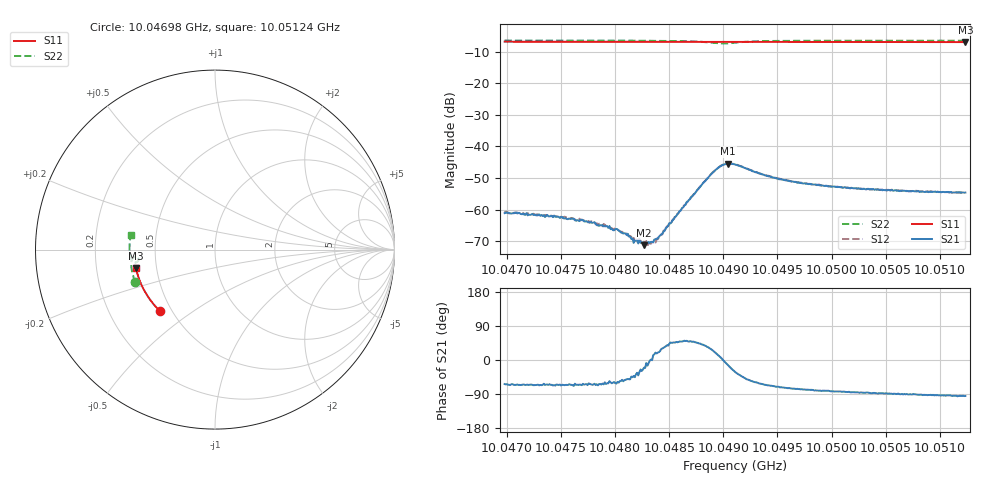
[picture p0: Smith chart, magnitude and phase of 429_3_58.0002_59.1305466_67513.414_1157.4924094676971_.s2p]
#  HZ  S  RI  R  50.00
! Rohde & Schwarz Vector Network Analyzer
! Rohde-Schwarz,ZNB20-2Port,1311601062101988,3.16
! Created: UTC 3/21/2024, 1:09:29 AM
! freq[Hz]  re:S11  im:S11  re:S21  im:S21  re:S12  im:S12  re:S22  im:S22
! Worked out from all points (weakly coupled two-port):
!   401 points, 10.04698 GHz to 10.05124 GHz, reference 50 ohm
!   highest |S21| = -45.41 dB at 10.04904 GHz (marker M1); lowest = -71.4 dB at 10.04827 GHz (marker M2)
!   lowest |S11| = -6.9 dB at 10.05124 GHz (marker M3), VSWR 2.65, Z = 19.1 - j4.95 ohm
!   |S11| at or under -10 dB: nowhere
!   |S22| runs from -7.4 to -6.4 dB; largest |S21 - S12| = 0.00036
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1.0046979e10  -0.3054 -0.3434  0.000392 -0.000785  0.000483 -0.000806  -0.4443 -0.1814
1.0047458e10  -0.3275 -0.3209  0.000329 -0.000696  0.00034 -0.000691  -0.4546 -0.1504
1.0047692e10  -0.3378 -0.3094  0.000274 -0.000627  0.000305 -0.000621  -0.459 -0.1349
1.0047884e10  -0.3459 -0.2995  0.000263 -0.000498  0.000257 -0.000478  -0.462 -0.1216
1.0047979e10  -0.3499 -0.2946  0.000236 -0.000409  0.000279 -0.0004  -0.4634 -0.1147
1.0048022e10  -0.3516 -0.2925  0.000259 -0.000409  0.000275 -0.00039  -0.464 -0.1115
1.0048118e10  -0.3555 -0.2876  0.000263 -0.000316  0.000255 -0.000289  -0.465 -0.1046
1.0048192e10  -0.3584 -0.2835  0.000263 -0.000207  0.00029 -0.000186  -0.4658 -0.0988
1.0048267e10  -0.3613 -0.2796  0.000254 -9.36e-05  0.000293 -9.82e-05  -0.4662 -0.0932
1.004832e10  -0.3634 -0.2768  0.0003 -9.66e-06  0.000289 1.43e-05  -0.4667 -0.0888
1.0048352e10  -0.3646 -0.2749  0.000293 6.62e-05  0.000289 8.03e-05  -0.4669 -0.0864
1.0048405e10  -0.3667 -0.2723  0.000347 0.000132  0.000316 0.000178  -0.4669 -0.0818
1.0048682e10  -0.3767 -0.257  0.000947 0.00106  0.000856 0.00115  -0.4624 -0.0561
1.0048884e10  -0.3836 -0.2455  0.00314 0.00174  0.00303 0.00193  -0.4416 -0.0396
1.0048969e10  -0.3861 -0.2408  0.00477 0.000668  0.00473 0.000991  -0.4278 -0.0467
1.0049044e10  -0.3886 -0.2368  0.0052 -0.00132  0.0053 -0.000977  -0.4269 -0.0615
1.0049108e10  -0.3906 -0.2332  0.00444 -0.00266  0.00464 -0.00239  -0.436 -0.0694
1.0049342e10  -0.3982 -0.2199  0.00172 -0.00328  0.00192 -0.00318  -0.4644 -0.0562
1.0049502e10  -0.403 -0.2104  0.00105 -0.00291  0.00121 -0.00286  -0.471 -0.0415
1.0049821e10  -0.4119 -0.1916  0.000485 -0.00246  0.000595 -0.00245  -0.4755 -0.0151
1.0050534e10  -0.4283 -0.1478  5.77e-05 -0.00203  0.000165 -0.00203  -0.475 0.0359
1.0051237e10  -0.4402 -0.1033  -0.000162 -0.00185  -9.61e-05 -0.00183  -0.4687 0.0832
